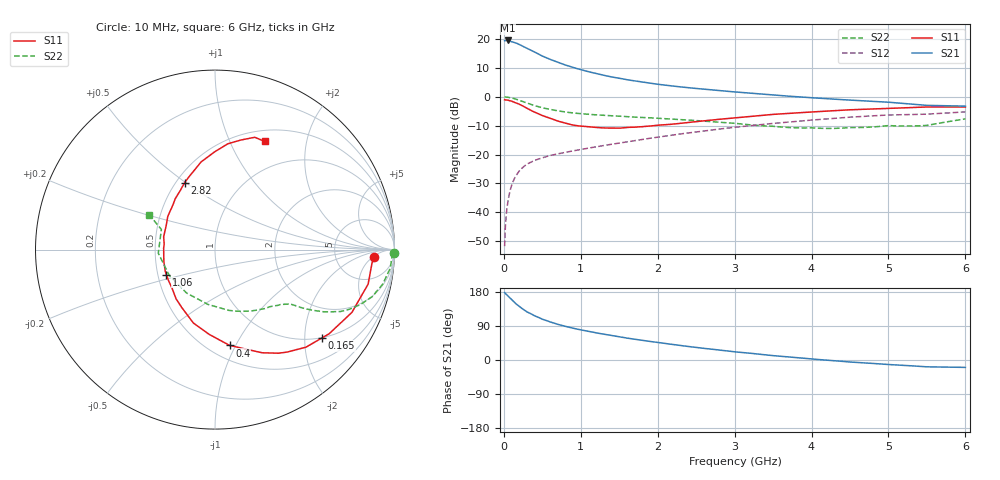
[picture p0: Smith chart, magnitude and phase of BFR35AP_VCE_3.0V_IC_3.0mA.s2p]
! Infineon Technologies  Discrete & RF Semiconductors
! BFR35AP
! VCE =  3.0 V,  IC =  3.0 mA
! Common Emitter S-Parameters:  Nov 2015
# GHz  S  MA  R  50
!  f  S11  S21  S12  S22
! GHz  MAG  ANG  MAG  ANG  MAG  ANG  MAG  ANG
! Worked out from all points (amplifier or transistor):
!   210 points, 10 MHz to 6 GHz, reference 50 ohm
!   highest |S21| = 19.5 dB at 50 MHz (marker M1)
!   |S21| within 3 dB of that: start of sweep to 323.5 MHz
!   unconditionally stable (mu >= 1): 978.7 MHz to 3.819 GHz; 5.453 GHz to 5.582 GHz
!   at 185 MHz: K = 0.28, MSG = 22.3 dB, |S12| = -26.2 dB
!   at 1.52 GHz: K = 1.14, MAG = 8.8 dB, |S12| = -15.9 dB
!   at 6 GHz: K = 0.98, MSG = 1.0 dB, |S12| = -5.3 dB
!   S11 on the Smith chart (normalised r, x): 10 MHz: 15, -5; 165 MHz: 1.00, -2.44; 400 MHz: 0.63, -0.95; 1.06 GHz: 0.56, -0.17; 2.82 GHz: 0.55, +0.49; 6 GHz: 0.63, +1.36
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0.01  0.8862 -2.6  9.282 178.1  0.0026 85.3  0.9953 -1.2
0.025  0.8763 -6.3  9.346 174.6  0.0072 87.0  0.9858 -2.9
0.05  0.8746 -12.7  9.39 169.5  0.0145 83.5  0.9824 -6.0
0.1  0.8394 -24.6  8.97 159.8  0.0292 76.2  0.9542 -11.6
0.15  0.7902 -36.4  8.6 149.4  0.0415 69.9  0.915 -16.6
0.165  0.7734 -39.4  8.418 147.1  0.0446 68.3  0.9002 -17.8
0.2  0.7433 -47.0  8.049 141.4  0.0518 65.3  0.8671 -20.6
0.26  0.6769 -58.5  7.301 132.5  0.062 60.6  0.8135 -24.3
0.3  0.6323 -65.4  6.893 127.1  0.0683 58.3  0.779 -26.3
0.4  0.5402 -81.3  5.926 116.6  0.0792 53.7  0.7001 -29.7
0.5  0.4731 -94.0  5.045 107.7  0.0877 51.1  0.6419 -31.8
0.66  0.3968 -112.8  4.135 96.9  0.0999 49.5  0.5831 -33.8
0.8  0.3498 -128.3  3.532 88.7  0.1089 49.0  0.5439 -34.9
1.02  0.308 -149.0  2.886 78.7  0.1233 49.5  0.506 -36.9
1.06  0.3045 -152.7  2.797 77.2  0.1262 49.6  0.5009 -37.4
1.4  0.2868 179.8  2.196 64.6  0.15 50.3  0.469 -41.4
2.02  0.3229 143.8  1.629 45.8  0.2013 50.1  0.4226 -51.6
2.82  0.4089 114.5  1.265 25.9  0.2778 45.6  0.3611 -71.6
3.1  0.4417 107.4  1.179 19.8  0.3053 42.8  0.3357 -81.1
4.1  0.5539 88.7  0.941 1.1  0.4034 31.5  0.2845 -128.7
5.1  0.6341 75.4  0.783 -13.0  0.4855 17.3  0.3126 178.8
6  0.6631 65.4  0.687 -19.5  0.5458 6.6  0.4132 152.2
